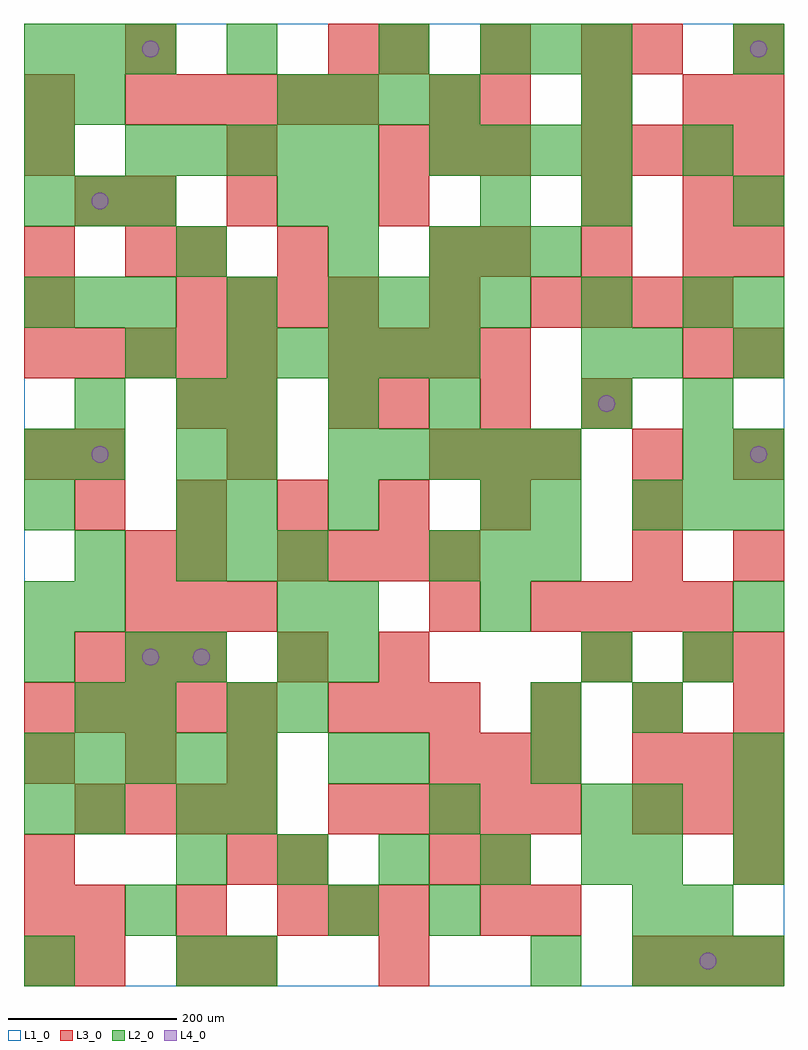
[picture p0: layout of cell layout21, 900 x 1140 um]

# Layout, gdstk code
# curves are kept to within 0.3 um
import gdstk
lib = gdstk.Library(unit=1e-6, precision=1e-09)
def R(c, l, rs):  # rectangles x0, y0, x1, y1
    for r in rs: c.add(gdstk.rectangle(r[:2], r[2:], *l))
def A(c, l, x, y, w, h, nx, ny, dx, dy):  # array of equal rectangles
    R(c, l, [(x+i*dx, y+j*dy, x+i*dx+w, y+j*dy+h) for i in range(nx) for j in range(ny)])
def P(c, l, *ps):  # polygons
    for p in ps: c.add(gdstk.Polygon(p, *l))
L1_0 = (1, 0)
L2_0 = (2, 0)
L3_0 = (3, 0)
L4_0 = (4, 0)

layout21 = lib.new_cell('layout21')
R(layout21, L1_0, [(0,0,900,1140)])
A(layout21, L2_0, 0, 0, 60, 60, 1, 3, 0, 180)
A(layout21, L2_0, 180, 0, 60, 60, 1, 4, 0, 180)
A(layout21, L2_0, 720, 0, 60, 60, 3, 2, 60, 540)
A(layout21, L2_0, 720, 60, 60, 60, 1, 3, 0, 60)
A(layout21, L2_0, 180, 120, 60, 60, 5, 1, 120, 0)
A(layout21, L2_0, 840, 120, 60, 60, 1, 3, 0, 60)
A(layout21, L2_0, 60, 180, 60, 60, 1, 3, 0, 120)
A(layout21, L2_0, 0, 240, 60, 60, 5, 1, 60, 0)
A(layout21, L2_0, 300, 300, 60, 60, 1, 3, 0, 60)
A(layout21, L2_0, 180, 480, 60, 60, 3, 1, 60, 0)
A(layout21, L2_0, 480, 480, 60, 60, 3, 2, 60, 360)
A(layout21, L2_0, 360, 600, 60, 60, 5, 1, 60, 0)
A(layout21, L2_0, 240, 660, 60, 60, 3, 1, 120, 0)
A(layout21, L2_0, 660, 660, 60, 60, 1, 3, 0, 60)
A(layout21, L2_0, 240, 720, 60, 60, 5, 1, 60, 0)
A(layout21, L2_0, 0, 780, 60, 60, 3, 2, 60, 120)
A(layout21, L2_0, 360, 780, 60, 60, 4, 1, 60, 0)
A(layout21, L2_0, 120, 960, 60, 60, 5, 1, 60, 0)
A(layout21, L2_0, 480, 960, 60, 60, 4, 1, 60, 0)
A(layout21, L2_0, 300, 1020, 60, 60, 4, 1, 60, 0)
A(layout21, L2_0, 0, 1080, 60, 60, 3, 1, 60, 0)
A(layout21, L2_0, 540, 1080, 60, 60, 3, 1, 60, 0)
R(layout21, L2_0, [(240,0,300,60), (600,0,660,60), (120,60,180,120), (360,60,420,120), (480,60,540,120), (780,60,840,120), (240,180,300,240), (480,180,540,240), (660,180,720,240), (360,240,420,300), (420,240,480,300), (600,240,660,300), (120,300,180,360), (240,300,300,360), (600,300,660,360), (720,300,780,360), (120,360,180,420), (360,360,420,420), (660,360,720,420), (780,360,840,420), (0,420,60,480), (360,420,420,480), (540,420,600,480), (840,420,900,480), (60,480,120,540), (0,540,60,600), (240,540,300,600), (360,540,420,600), (540,540,600,600), (600,540,660,600), (0,600,60,660), (60,600,120,660), (180,600,240,660), (240,600,300,660), (780,600,840,660), (840,600,900,660), (60,660,120,720), (180,660,240,720), (780,660,840,720), (120,720,180,780), (720,720,780,780), (840,720,900,780), (240,780,300,840), (780,780,840,840), (840,780,900,840), (180,840,240,900), (360,840,420,900), (300,900,360,960), (360,900,420,960), (540,900,600,960), (660,900,720,960), (840,900,900,960), (0,960,60,1020), (780,960,840,1020), (0,1020,60,1080), (60,1020,120,1080), (660,1020,720,1080), (240,1080,300,1140), (420,1080,480,1140), (840,1080,900,1140)])
A(layout21, L3_0, 0, 0, 60, 60, 1, 3, 0, 60)
A(layout21, L3_0, 720, 0, 60, 60, 3, 2, 60, 180)
A(layout21, L3_0, 60, 60, 60, 60, 3, 1, 120, 0)
A(layout21, L3_0, 60, 180, 60, 60, 4, 1, 60, 0)
A(layout21, L3_0, 360, 180, 60, 60, 5, 1, 60, 0)
A(layout21, L3_0, 0, 240, 60, 60, 3, 1, 120, 0)
A(layout21, L3_0, 480, 240, 60, 60, 3, 2, 60, 360)
A(layout21, L3_0, 720, 240, 60, 60, 3, 1, 60, 0)
A(layout21, L3_0, 0, 300, 60, 60, 5, 2, 60, 420)
A(layout21, L3_0, 360, 300, 60, 60, 3, 1, 60, 0)
A(layout21, L3_0, 600, 300, 60, 60, 3, 1, 120, 0)
A(layout21, L3_0, 60, 360, 60, 60, 3, 1, 60, 0)
A(layout21, L3_0, 840, 360, 60, 60, 1, 5, 0, 120)
A(layout21, L3_0, 120, 420, 60, 60, 3, 1, 60, 0)
A(layout21, L3_0, 600, 420, 60, 60, 4, 2, 60, 360)
A(layout21, L3_0, 180, 480, 60, 60, 1, 3, 0, 180)
A(layout21, L3_0, 300, 480, 60, 60, 4, 1, 60, 0)
A(layout21, L3_0, 720, 480, 60, 60, 1, 3, 0, 60)
A(layout21, L3_0, 60, 540, 60, 60, 5, 1, 120, 0)
A(layout21, L3_0, 420, 660, 60, 60, 3, 2, 120, 420)
A(layout21, L3_0, 360, 720, 60, 60, 4, 1, 60, 0)
A(layout21, L3_0, 180, 780, 60, 60, 4, 1, 60, 0)
A(layout21, L3_0, 540, 840, 60, 60, 3, 2, 120, 180)
A(layout21, L3_0, 420, 960, 60, 60, 3, 1, 60, 0)
A(layout21, L3_0, 660, 960, 60, 60, 4, 1, 60, 0)
A(layout21, L3_0, 120, 1020, 60, 60, 5, 1, 60, 0)
R(layout21, L3_0, [(60,0,120,60), (180,0,240,60), (240,0,300,60), (420,0,480,60), (360,60,420,120), (420,60,480,120), (540,60,600,120), (600,60,660,120), (240,120,300,180), (300,120,360,180), (480,120,540,180), (540,120,600,180), (840,120,900,180), (300,360,360,420), (420,360,480,420), (660,360,720,420), (780,360,840,420), (480,420,540,480), (120,480,180,540), (0,600,60,660), (60,600,120,660), (240,600,300,660), (240,660,300,720), (360,660,420,720), (780,720,840,780), (0,780,60,840), (480,780,540,840), (0,840,60,900), (120,840,180,900), (300,840,360,900), (480,840,540,900), (60,900,120,960), (120,900,180,960), (240,900,300,960), (420,900,480,960), (660,900,720,960), (780,900,840,960), (840,900,900,960), (0,960,60,1020), (240,960,300,1020), (0,1020,60,1080), (480,1020,540,1080), (840,1020,900,1080), (120,1080,180,1140), (360,1080,420,1140), (720,1080,780,1140), (840,1080,900,1140)])
P(layout21, L4_0, [(100,630),(99.239,633.827),(97.071,637.071),(93.827,639.239),(90,640),(86.173,639.239),(82.929,637.071),(80.761,633.827),(80,630),(80.761,626.173),(82.929,622.929),(86.173,620.761),(90,620),(93.827,620.761),(97.071,622.929),(99.239,626.173)],
  [(100,930),(99.239,933.827),(97.071,937.071),(93.827,939.239),(90,940),(86.173,939.239),(82.929,937.071),(80.761,933.827),(80,930),(80.761,926.173),(82.929,922.929),(86.173,920.761),(90,920),(93.827,920.761),(97.071,922.929),(99.239,926.173)],
  [(160,390),(159.239,393.827),(157.071,397.071),(153.827,399.239),(150,400),(146.173,399.239),(142.929,397.071),(140.761,393.827),(140,390),(140.761,386.173),(142.929,382.929),(146.173,380.761),(150,380),(153.827,380.761),(157.071,382.929),(159.239,386.173)],
  [(160,1110),(159.239,1113.827),(157.071,1117.071),(153.827,1119.239),(150,1120),(146.173,1119.239),(142.929,1117.071),(140.761,1113.827),(140,1110),(140.761,1106.173),(142.929,1102.929),(146.173,1100.761),(150,1100),(153.827,1100.761),(157.071,1102.929),(159.239,1106.173)],
  [(220,390),(219.239,393.827),(217.071,397.071),(213.827,399.239),(210,400),(206.173,399.239),(202.929,397.071),(200.761,393.827),(200,390),(200.761,386.173),(202.929,382.929),(206.173,380.761),(210,380),(213.827,380.761),(217.071,382.929),(219.239,386.173)],
  [(700,690),(699.239,693.827),(697.071,697.071),(693.827,699.239),(690,700),(686.173,699.239),(682.929,697.071),(680.761,693.827),(680,690),(680.761,686.173),(682.929,682.929),(686.173,680.761),(690,680),(693.827,680.761),(697.071,682.929),(699.239,686.173)],
  [(820,30),(819.239,33.827),(817.071,37.071),(813.827,39.239),(810,40),(806.173,39.239),(802.929,37.071),(800.761,33.827),(800,30),(800.761,26.173),(802.929,22.929),(806.173,20.761),(810,20),(813.827,20.761),(817.071,22.929),(819.239,26.173)],
  [(880,630),(879.239,633.827),(877.071,637.071),(873.827,639.239),(870,640),(866.173,639.239),(862.929,637.071),(860.761,633.827),(860,630),(860.761,626.173),(862.929,622.929),(866.173,620.761),(870,620),(873.827,620.761),(877.071,622.929),(879.239,626.173)],
  [(880,1110),(879.239,1113.827),(877.071,1117.071),(873.827,1119.239),(870,1120),(866.173,1119.239),(862.929,1117.071),(860.761,1113.827),(860,1110),(860.761,1106.173),(862.929,1102.929),(866.173,1100.761),(870,1100),(873.827,1100.761),(877.071,1102.929),(879.239,1106.173)])

lib.write_gds('layout21.gds')
